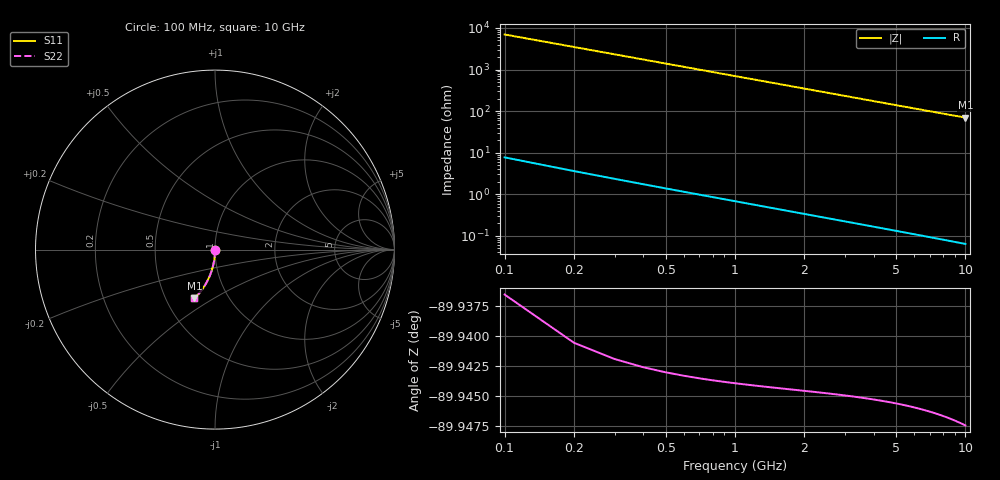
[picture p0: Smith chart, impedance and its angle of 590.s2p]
# Hz S RI R 50.00
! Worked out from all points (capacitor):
!   100 points, 100 MHz to 10 GHz, reference 50 ohm
!   read as one part in shunt: C = 228 fF near 100 MHz
!   lowest |Z| = 69.9 ohm at 10 GHz (marker M1)
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1e8  0.000138 -0.0031  0.9998 -0.00407  0.9998 -0.00407  0.000138 -0.0031
2e8  9.81e-05 -0.00619  0.9998 -0.00813  0.9998 -0.00813  9.81e-05 -0.00619
3e8  3.24e-05 -0.00929  0.9997 -0.0122  0.9997 -0.0122  3.24e-05 -0.00929
4e8  -5.86e-05 -0.0124  0.9996 -0.0163  0.9996 -0.0163  -5.86e-05 -0.0124
5e8  -0.000175 -0.0155  0.9995 -0.0203  0.9995 -0.0203  -0.000175 -0.0155
6e8  -0.000316 -0.0186  0.9994 -0.0244  0.9994 -0.0244  -0.000316 -0.0186
7e8  -0.000483 -0.0217  0.9992 -0.0285  0.9992 -0.0285  -0.000483 -0.0217
8e8  -0.000675 -0.0248  0.999 -0.0325  0.999 -0.0325  -0.000675 -0.0248
9e8  -0.000892 -0.0278  0.9988 -0.0366  0.9988 -0.0366  -0.000892 -0.0278
1.1e9  -0.0014 -0.034  0.9982 -0.0447  0.9982 -0.0447  -0.0014 -0.034
1.4e9  -0.00235 -0.0433  0.9972 -0.0569  0.9972 -0.0569  -0.00235 -0.0433
1.8e9  -0.00397 -0.0555  0.9955 -0.073  0.9955 -0.073  -0.00397 -0.0555
2.1e9  -0.00545 -0.0647  0.994 -0.0851  0.994 -0.0851  -0.00545 -0.0647
2.5e9  -0.00776 -0.0768  0.9916 -0.1012  0.9916 -0.1012  -0.00776 -0.0768
2.9e9  -0.0105 -0.0889  0.9888 -0.1171  0.9888 -0.1171  -0.0105 -0.0889
3.4e9  -0.0144 -0.1038  0.9847 -0.1369  0.9847 -0.1369  -0.0144 -0.1038
4.2e9  -0.0219 -0.1272  0.9769 -0.1682  0.9769 -0.1682  -0.0219 -0.1272
5.1e9  -0.0321 -0.1528  0.9664 -0.2026  0.9664 -0.2026  -0.0321 -0.1528
5.9e9  -0.0426 -0.1748  0.9554 -0.2325  0.9554 -0.2325  -0.0426 -0.1748
6.7e9  -0.0544 -0.1959  0.9431 -0.2615  0.9431 -0.2615  -0.0544 -0.1959
8.4e9  -0.0833 -0.2375  0.9129 -0.32  0.9129 -0.32  -0.0833 -0.2375
1e10  -0.1147 -0.272  0.8801 -0.3706  0.8801 -0.3706  -0.1147 -0.272
